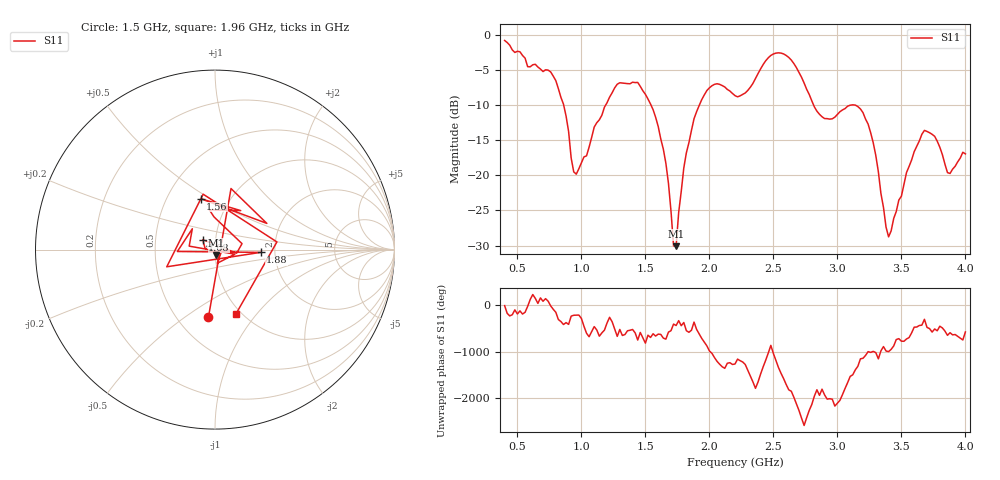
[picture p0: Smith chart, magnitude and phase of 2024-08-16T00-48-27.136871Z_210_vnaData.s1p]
!Created with skrf (http://scikit-rf.org).
# Hz S RI R 50.0
!freq ReS11 ImS11
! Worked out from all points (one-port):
!   181 points, 400 MHz to 4 GHz, reference 50 ohm
!   lowest |S11| = -30.1 dB at 1.74 GHz (marker M1), VSWR 1.06, Z = 50.7 - j3.08 ohm
!   |S11| at or under -10 dB: 862.1 MHz to 1.188 GHz (325.9 MHz wide, 31.8 % of centre); 1.545 GHz to 1.92 GHz (375.3 MHz wide, 21.7 % of centre); 3.145 GHz to end of sweep (the widest 3 of 4)
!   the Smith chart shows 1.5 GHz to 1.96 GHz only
!   S11 on the Smith chart (normalised r, x): 1.5 GHz: 0.70, -0.62; 1.56 GHz: 0.73, +0.46; 1.68 GHz: 0.87, +0.10; 1.88 GHz: 1.68, -0.06; 1.96 GHz: 0.95, -0.79
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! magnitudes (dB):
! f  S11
! 400 MHz  -0.7
! 760 MHz  -5.2
! 860 MHz  -9.8
! 920 MHz  -17.5
! 960 MHz  -19.8
! 1.3 GHz  -6.8
! 1.5 GHz  -8.4
! 1.56 GHz  -10.6
! 1.68 GHz  -21.1
! 1.72 GHz  -30.1
! 1.74 GHz  -30.1
! 1.76 GHz  -25.3
! 1.8 GHz  -18.9
! 1.88 GHz  -11.9
! 1.96 GHz  -8.5
! 2.06 GHz  -6.9
! 2.2 GHz  -8.6
! 2.5 GHz  -2.6
! 2.66 GHz  -4.0
! 2.88 GHz  -11.6
! 3.1 GHz  -10.0
! 3.26 GHz  -13.9
! 3.4 GHz  -28.8
! 3.56 GHz  -18.7
! 3.68 GHz  -13.6
! 3.76 GHz  -14.4
! 3.86 GHz  -19.6
! 4 GHz  -16.9
